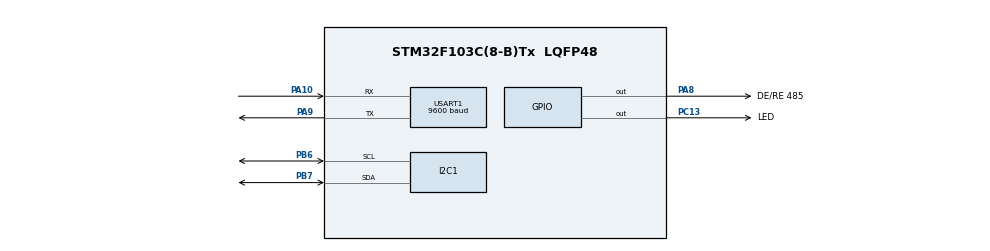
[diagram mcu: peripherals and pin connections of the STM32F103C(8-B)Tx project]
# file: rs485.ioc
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FREERTOS.Mutexes01=registerMutex,Dynamic,NULL,Available
FREERTOS.Tasks01=ModbusTask,32,512,StartModbusTask,Default,NULL,Dynamic,NULL,NULL;SensorTask,24,256,StartSensorTask,Default,NULL,Dynamic,NULL,NULL;StatusTask,8,128,StartStatusTask,Default,NULL,Dynamic,NULL,NULL
FREERTOS.configTOTAL_HEAP_SIZE=4096
Mcu.Family=STM32F1
Mcu.Name=STM32F103C(8-B)Tx
Mcu.Package=LQFP48
NVIC.PriorityGroup=NVIC_PRIORITYGROUP_4
NVIC.TIM4_IRQn=true\:0\:0\:true\:false\:true\:false\:false\:true\:true
NVIC.TimeBase=TIM4_IRQn
NVIC.TimeBaseIP=TIM4
PA10.Mode=Asynchronous
PA10.Signal=USART1_RX
PA13.Mode=Serial_Wire
PA13.Signal=SYS_JTMS-SWDIO
PA14.Mode=Serial_Wire
PA14.Signal=SYS_JTCK-SWCLK
PA8.GPIO_Label=DE/RE 485
PA8.Signal=GPIO_Output
PA9.Mode=Asynchronous
PA9.Signal=USART1_TX
PB6.Mode=I2C
PB6.Signal=I2C1_SCL
PB7.Mode=I2C
PB7.Signal=I2C1_SDA
PC13-TAMPER-RTC.GPIO_Label=LED
PC13-TAMPER-RTC.PinState=GPIO_PIN_SET
PC13-TAMPER-RTC.Signal=GPIO_Output
PD0-OSC_IN.Mode=HSE-External-Oscillator
PD0-OSC_IN.Signal=RCC_OSC_IN
PD1-OSC_OUT.Mode=HSE-External-Oscillator
PD1-OSC_OUT.Signal=RCC_OSC_OUT
ProjectManager.HeapSize=0x200
ProjectManager.StackSize=0x400
ProjectManager.TargetToolchain=STM32CubeIDE
RCC.APB1Freq_Value=8000000
RCC.APB2Freq_Value=8000000
USART1.BaudRate=9600
USART1.VirtualMode=VM_ASYNC
VP_FREERTOS_VS_CMSIS_V2.Mode=CMSIS_V2
VP_SYS_VS_tim4.Mode=TIM4
board=custom

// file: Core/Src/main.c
/* USER CODE BEGIN Header */
/* USER CODE END Header */
#include "main.h"
#include "cmsis_os.h"
/* USER CODE BEGIN Includes */
#include "bme280.h"
/* USER CODE END Includes */

I2C_HandleTypeDef hi2c1;
UART_HandleTypeDef huart1;

/* Definitions for ModbusTask */
osThreadId_t ModbusTaskHandle;
const osThreadAttr_t ModbusTask_attributes = {
  .name = "ModbusTask",
  .stack_size = 512 * 4,
  .priority = (osPriority_t) osPriorityAboveNormal,
};
/* Definitions for SensorTask */
osThreadId_t SensorTaskHandle;
const osThreadAttr_t SensorTask_attributes = {
  .name = "SensorTask",
  .stack_size = 256 * 4,
  .priority = (osPriority_t) osPriorityNormal,
};
/* Definitions for StatusTask */
osThreadId_t StatusTaskHandle;
const osThreadAttr_t StatusTask_attributes = {
  .name = "StatusTask",
  .stack_size = 128 * 4,
  .priority = (osPriority_t) osPriorityLow,
};
/* Definitions for registerMutex */
osMutexId_t registerMutexHandle;
const osMutexAttr_t registerMutex_attributes = {
  .name = "registerMutex"
};

/* USER CODE BEGIN PV */

struct SensorData { //sensor data struct
	float temperature;
	float pressure;
	float humidity;
	float pressure_hPa;
}data;
#define REG 11
uint16_t holdingRegister[REG];

/* USER CODE END PV */

void SystemClock_Config(void);
static void MX_GPIO_Init(void);
static void MX_I2C1_Init(void);
static void MX_USART1_UART_Init(void);
void StartModbusTask(void *argument);
void StartSensorTask(void *argument);
void StartStatusTask(void *argument);

/* USER CODE BEGIN 0 */

//function prototypes
void RS485_R(void){
	HAL_GPIO_WritePin(DE_RE_485_GPIO_Port, DE_RE_485_Pin, GPIO_PIN_RESET);
}
void RS485_T(void){
	HAL_GPIO_WritePin(DE_RE_485_GPIO_Port, DE_RE_485_Pin, GPIO_PIN_SET);
}
void LED_T(void){
	HAL_GPIO_TogglePin(LED_GPIO_Port, LED_Pin);
}

uint16_t crc16(uint8_t *buffer, uint16_t length)
{
	uint16_t crc = 0xFFFF;
			  	  for (int i=0;i<length;i++)
			  	  {
			  		  crc = crc ^ buffer[i];

			  		  for (int j=0;j<8;j++)
			  		  {
			  		  	  if ((crc) & (1))
			  		  	  	  {
			  		  		  crc = crc >> 1;
			  		  		  crc = crc ^ 0xA001;
			  		  	  	  }
			  		  	  else
			  		  	  	  {
			  		  		  crc= crc >> 1;
			  		  	  	  }
			  		  }

			  	  }
			  	  return crc;
}
/* USER CODE END 0 */
int main(void)
{

  /* MCU Configuration--------------------------------------------------------*/

  /* Reset of all peripherals, Initializes the Flash interface and the Systick. */
  HAL_Init();

  /* Configure the system clock */
  SystemClock_Config();

  /* Initialize all configured peripherals */
  MX_GPIO_Init();
  MX_I2C1_Init();
  MX_USART1_UART_Init();
  /* USER CODE BEGIN 2 */
  int result = bme280_init(&hi2c1,
                              BME280_OVERSAMPLE_X1,    // humidity
                              BME280_OVERSAMPLE_X1,    // temperature
                              BME280_OVERSAMPLE_X1,    // pressure
                              BME280_NORMAL_MODE,      // operating mode
                              BME280_STANDBY_1000MS,   // standby time
                              BME280_FILTER_OFF);      // filter coefficient

      if (result != 0) {
          // Initialization failed
          Error_Handler();
      }
  /* USER CODE END 2 */

  /* Init scheduler */
  osKernelInitialize();
  /* Create the mutex(es) */
  /* creation of registerMutex */
  registerMutexHandle = osMutexNew(&registerMutex_attributes);

  /* Create the thread(s) */
  /* creation of ModbusTask */
  ModbusTaskHandle = osThreadNew(StartModbusTask, NULL, &ModbusTask_attributes);

  /* creation of SensorTask */
  SensorTaskHandle = osThreadNew(StartSensorTask, NULL, &SensorTask_attributes);

  /* creation of StatusTask */
  StatusTaskHandle = osThreadNew(StartStatusTask, NULL, &StatusTask_attributes);

  /* Start scheduler */
  osKernelStart();

  /* We should never get here as control is now taken by the scheduler */

  /* Infinite loop */
  while (1)
  {

  }
}

void SystemClock_Config(void)
{
  RCC_OscInitTypeDef RCC_OscInitStruct = {0};
  RCC_ClkInitTypeDef RCC_ClkInitStruct = {0};

  /** Initializes the RCC Oscillators according to the specified parameters
  * in the RCC_OscInitTypeDef structure.
  */
  RCC_OscInitStruct.OscillatorType = RCC_OSCILLATORTYPE_HSI;
  RCC_OscInitStruct.HSIState = RCC_HSI_ON;
  RCC_OscInitStruct.HSICalibrationValue = RCC_HSICALIBRATION_DEFAULT;
  RCC_OscInitStruct.PLL.PLLState = RCC_PLL_NONE;
  if (HAL_RCC_OscConfig(&RCC_OscInitStruct) != HAL_OK)
  {
    Error_Handler();
  }

  /** Initializes the CPU, AHB and APB buses clocks
  */
  RCC_ClkInitStruct.ClockType = RCC_CLOCKTYPE_HCLK|RCC_CLOCKTYPE_SYSCLK
                              |RCC_CLOCKTYPE_PCLK1|RCC_CLOCKTYPE_PCLK2;
  RCC_ClkInitStruct.SYSCLKSource = RCC_SYSCLKSOURCE_HSI;
  RCC_ClkInitStruct.AHBCLKDivider = RCC_SYSCLK_DIV1;
  RCC_ClkInitStruct.APB1CLKDivider = RCC_HCLK_DIV1;
  RCC_ClkInitStruct.APB2CLKDivider = RCC_HCLK_DIV1;

  if (HAL_RCC_ClockConfig(&RCC_ClkInitStruct, FLASH_LATENCY_0) != HAL_OK)
  {
    Error_Handler();
  }
}

static void MX_I2C1_Init(void)
{

  hi2c1.Instance = I2C1;
  hi2c1.Init.ClockSpeed = 100000;
  hi2c1.Init.DutyCycle = I2C_DUTYCYCLE_2;
  hi2c1.Init.OwnAddress1 = 0;
  hi2c1.Init.AddressingMode = I2C_ADDRESSINGMODE_7BIT;
  hi2c1.Init.DualAddressMode = I2C_DUALADDRESS_DISABLE;
  hi2c1.Init.OwnAddress2 = 0;
  hi2c1.Init.GeneralCallMode = I2C_GENERALCALL_DISABLE;
  hi2c1.Init.NoStretchMode = I2C_NOSTRETCH_DISABLE;
  if (HAL_I2C_Init(&hi2c1) != HAL_OK)
  {
    Error_Handler();
  }

}

static void MX_USART1_UART_Init(void)
{

  huart1.Instance = USART1;
  huart1.Init.BaudRate = 9600;
  huart1.Init.WordLength = UART_WORDLENGTH_8B;
  huart1.Init.StopBits = UART_STOPBITS_1;
  huart1.Init.Parity = UART_PARITY_NONE;
  huart1.Init.Mode = UART_MODE_TX_RX;
  huart1.Init.HwFlowCtl = UART_HWCONTROL_NONE;
  huart1.Init.OverSampling = UART_OVERSAMPLING_16;
  if (HAL_UART_Init(&huart1) != HAL_OK)
  {
    Error_Handler();
  }

}

static void MX_GPIO_Init(void)
{
  GPIO_InitTypeDef GPIO_InitStruct = {0};

  /* GPIO Ports Clock Enable */
  __HAL_RCC_GPIOC_CLK_ENABLE();
  __HAL_RCC_GPIOD_CLK_ENABLE();
  __HAL_RCC_GPIOA_CLK_ENABLE();
  __HAL_RCC_GPIOB_CLK_ENABLE();

  /*Configure GPIO pin Output Level */
  HAL_GPIO_WritePin(LED_GPIO_Port, LED_Pin, GPIO_PIN_SET);

  /*Configure GPIO pin Output Level */
  HAL_GPIO_WritePin(DE_RE_485_GPIO_Port, DE_RE_485_Pin, GPIO_PIN_RESET);

  /*Configure GPIO pin : LED_Pin */
  GPIO_InitStruct.Pin = LED_Pin;
  GPIO_InitStruct.Mode = GPIO_MODE_OUTPUT_PP;
  GPIO_InitStruct.Pull = GPIO_NOPULL;
  GPIO_InitStruct.Speed = GPIO_SPEED_FREQ_LOW;
  HAL_GPIO_Init(LED_GPIO_Port, &GPIO_InitStruct);

  /*Configure GPIO pin : DE_RE_485_Pin */
  GPIO_InitStruct.Pin = DE_RE_485_Pin;
  GPIO_InitStruct.Mode = GPIO_MODE_OUTPUT_PP;
  GPIO_InitStruct.Pull = GPIO_NOPULL;
  GPIO_InitStruct.Speed = GPIO_SPEED_FREQ_LOW;
  HAL_GPIO_Init(DE_RE_485_GPIO_Port, &GPIO_InitStruct);

}

// Communication Task
/*MODBUS HOLDING REGISTER MAP
 * 0  Temperature x100
 * 1  Pressure hPa x10
 * 2  Humidity x100
 * 3  Device Status
 * 4  Error Code
 * 5  Firmware Version
 * 6  Uptime Seconds
 * 7  CRC Error Count
 * 8  Invalid Request Count
 * 9  Modbus Request Count
 * 10 Sensor Read Count
  */
void StartModbusTask(void *argument)
{
	/* USER CODE BEGIN StartModbusTask */
	/* Infinite loop */
	 RS485_R();
	 HAL_StatusTypeDef uart_r; // uart receive status

	 uint8_t rxbuffer[8];           // receive and transmit data arrays
	 uint8_t txbuffer[3+ REG*2 + 2];

	 uint8_t crcholdrx[2]; // crc holders
	 uint8_t crcholdtx[2];

	 uint16_t request_c = 0,crc_c = 0, irequest_c = 0; // error code counts

	 uint16_t start_address; // address 3-> quantity (register amount)
	 uint16_t quantity;

	 uint8_t exception; //error code definitions
	 uint16_t error;

  for(;;)
  {
	  uart_r=HAL_UART_Receive(&huart1,rxbuffer,8,100);

	  if (uart_r==HAL_OK)
		{

		  	  uint16_t crc_rx = crc16(rxbuffer,6);

		  	  crcholdrx[0]= crc_rx & 0xFF;
		  	  crcholdrx[1]= crc_rx >> 8;

		  	  start_address = (rxbuffer[2] << 8 | rxbuffer[3]); // starting address
		  	  quantity = (rxbuffer[4]<< 8 | rxbuffer[5]); // total reg amount
		  	  uint16_t responselength= 3+quantity*2+2;

		if ((rxbuffer[6]!=crcholdrx[0]) || (rxbuffer[7]!=crcholdrx[1]))   //crc checker
		  	  {
		  		  crc_c++;
		  		  osMutexAcquire(registerMutexHandle,osWaitForever);
		  		  holdingRegister[7]=crc_c;
		  		  osMutexRelease(registerMutexHandle);

		  	  }

		else if ( (rxbuffer[0]==1) &&      // correct configurations response generator
				  (rxbuffer[1]==3) &&
				  (quantity > 0) &&
				  (quantity <= REG) &&
				  (start_address < REG) &&
				  (start_address + quantity <= REG) &&
				  (rxbuffer[6]==crcholdrx[0]) &&
				  (rxbuffer[7]==crcholdrx[1])
			    )

		  {

			  txbuffer[0]=rxbuffer[0];
			  txbuffer[1]=rxbuffer[1];
			  txbuffer[2]=quantity*2 ;

			  osMutexAcquire(registerMutexHandle,osWaitForever);
			  request_c++;
			  holdingRegister[9]=request_c;

			  for (int i=0; i < quantity; i++)

			  {
				  uint16_t value = holdingRegister[start_address+i];
				  txbuffer[3+i*2]= value >> 8;
				  txbuffer[3+i*2 + 1] = value & 0xFF;

			  }
			  osMutexRelease(registerMutexHandle);

			  uint16_t crc_tx = crc16(txbuffer, responselength-2);

			  crcholdtx[0]= crc_tx & 0xFF;
			  crcholdtx[1]= crc_tx >> 8;

			  txbuffer[responselength-2]  = crcholdtx[0];
			  txbuffer[responselength-1] = crcholdtx[1];

			  RS485_T();
			  HAL_UART_Transmit(&huart1,txbuffer,responselength,1000); // register response
			  RS485_R();
		  }

	 else {                                                                // error response
			  if (rxbuffer[0]==1){

				  if(rxbuffer[1]!=3)
				  {
					  exception=0x01; // illegal function
					  error=2; // invalid
				  }
				  else if ((start_address >=REG)|| (start_address+ quantity> REG))
				  {
					  exception=0x02; // illegal address
					  error= 3; // invalid
				  }
				  else
				  {
					  exception=0x03; // illegal data
					  error = 4; //invalid
				  }

				  irequest_c++;
				  			  osMutexAcquire(registerMutexHandle,osWaitForever);
				  			  holdingRegister[8]=irequest_c;
				  			  holdingRegister[4]= error ;
				  			  osMutexRelease(registerMutexHandle);

				  			  txbuffer[0]=rxbuffer[0];
				  			  txbuffer[1]=rxbuffer[1]|0x80;
				  			  txbuffer[2]=exception;
				  			  uint16_t errorcrc=crc16(txbuffer,3);

				  			  txbuffer[3]=errorcrc & 0xFF;
				  			  txbuffer[4]=errorcrc >> 8;

				  			  RS485_T();
				  			  HAL_UART_Transmit(&huart1,txbuffer,5,1000); //5 byte response
				  			  RS485_R();
			  }

		  }

	  }
	  osDelay(10);
	  }
  /* USER CODE END StartModbusTask */
  }

void StartSensorTask(void *argument)     //sensor reading task
{
	/* USER CODE BEGIN StartSensorTask */
	/* Infinite loop */
	uint16_t sensor_c=0;
	for(;;)
	{
	  sensor_c++;
	  data.temperature = bme280_get_temperature();
	  data.pressure = bme280_get_pressure();
	  data.humidity = bme280_get_humidity();
	  data.pressure_hPa = data.pressure/100.0f;

	  osMutexAcquire(registerMutexHandle,osWaitForever);
	  holdingRegister[0]=data.temperature*100;
	  holdingRegister[1]=data.pressure_hPa*10;
	  holdingRegister[2]=data.humidity*100;
	  holdingRegister[10]=sensor_c;
	  osMutexRelease(registerMutexHandle);

	  osDelay(2000);
  }
	/* USER CODE END StartSensorTask */
}

void StartStatusTask(void *argument)   // current status task
{
	uint16_t uptime=0;
  /* USER CODE BEGIN StartStatusTask */
  /* Infinite loop */
  for(;;)
  {
	  uptime++;
	  osMutexAcquire(registerMutexHandle,osWaitForever);
	  holdingRegister[3]=1; //device status
	  holdingRegister[5]=100; //firmware 1.0.0
	  holdingRegister[6]=uptime; //uptime
	  osMutexRelease(registerMutexHandle);
	  LED_T();
	  osDelay(1000);
  }
  /* USER CODE END StartStatusTask */
}

void HAL_TIM_PeriodElapsedCallback(TIM_HandleTypeDef *htim)
{
  if (htim->Instance == TIM4)
  {
    HAL_IncTick();
  }
}

void Error_Handler(void)
{
  __disable_irq();
  while (1)
  {
  }
}
